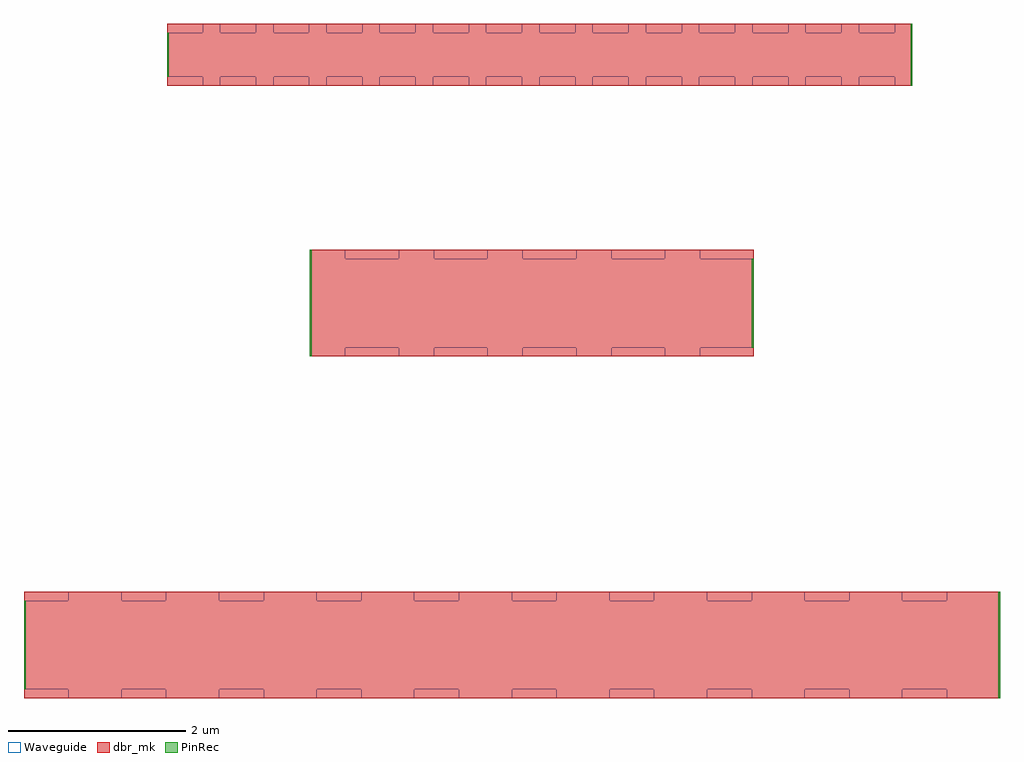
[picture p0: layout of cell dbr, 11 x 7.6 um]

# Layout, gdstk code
import gdstk
lib = gdstk.Library(unit=1e-6, precision=1e-09)
def R(c, l, rs):  # rectangles x0, y0, x1, y1
    for r in rs: c.add(gdstk.rectangle(r[:2], r[2:], *l))
Waveguide = (1, 0)
dbr_mk = (1, 5)
PinRec = (1, 10)

dbr_1 = lib.new_cell('dbr$1')
R(dbr_1, Waveguide, [(0.5,-0.6,1.1,0.6), (0.5,-0.6,1.1,0.6), (0.5,-0.6,1.1,0.6), (1.6,-0.6,2.2,0.6), (1.6,-0.6,2.2,0.6), (1.6,-0.6,2.2,0.6), (2.7,-0.6,3.3,0.6), (2.7,-0.6,3.3,0.6), (2.7,-0.6,3.3,0.6), (3.8,-0.6,4.4,0.6), (3.8,-0.6,4.4,0.6), (3.8,-0.6,4.4,0.6), (4.9,-0.6,5.5,0.6), (4.9,-0.6,5.5,0.6), (4.9,-0.6,5.5,0.6), (6,-0.6,6.6,0.6), (6,-0.6,6.6,0.6), (6,-0.6,6.6,0.6), (7.1,-0.6,7.7,0.6), (7.1,-0.6,7.7,0.6), (7.1,-0.6,7.7,0.6), (8.2,-0.6,8.8,0.6), (8.2,-0.6,8.8,0.6), (8.2,-0.6,8.8,0.6), (9.3,-0.6,9.9,0.6), (9.3,-0.6,9.9,0.6), (9.3,-0.6,9.9,0.6), (10.4,-0.6,11,0.6), (10.4,-0.6,11,0.6), (10.4,-0.6,11,0.6), (0,-0.5,0.5,0.5), (0,-0.5,0.5,0.5), (0,-0.5,0.5,0.5), (1.1,-0.5,1.6,0.5), (1.1,-0.5,1.6,0.5), (1.1,-0.5,1.6,0.5), (2.2,-0.5,2.7,0.5), (2.2,-0.5,2.7,0.5), (2.2,-0.5,2.7,0.5), (3.3,-0.5,3.8,0.5), (3.3,-0.5,3.8,0.5), (3.3,-0.5,3.8,0.5), (4.4,-0.5,4.9,0.5), (4.4,-0.5,4.9,0.5), (4.4,-0.5,4.9,0.5), (5.5,-0.5,6,0.5), (5.5,-0.5,6,0.5), (5.5,-0.5,6,0.5), (6.6,-0.5,7.1,0.5), (6.6,-0.5,7.1,0.5), (6.6,-0.5,7.1,0.5), (7.7,-0.5,8.2,0.5), (7.7,-0.5,8.2,0.5), (7.7,-0.5,8.2,0.5), (8.8,-0.5,9.3,0.5), (8.8,-0.5,9.3,0.5), (8.8,-0.5,9.3,0.5), (9.9,-0.5,10.4,0.5), (9.9,-0.5,10.4,0.5), (9.9,-0.5,10.4,0.5)])
R(dbr_1, dbr_mk, [(0,-0.6,11,0.6)])
R(dbr_1, PinRec, [(10.98,-0.6,11,0.6), (0,-0.5,0.02,0.5)])

dbr_3 = lib.new_cell('dbr$3')
R(dbr_3, Waveguide, [(0,-0.6,0.4,0.6), (0,-0.6,0.4,0.6), (0,-0.6,0.4,0.6), (1,-0.6,1.4,0.6), (1,-0.6,1.4,0.6), (1,-0.6,1.4,0.6), (2,-0.6,2.4,0.6), (2,-0.6,2.4,0.6), (2,-0.6,2.4,0.6), (3,-0.6,3.4,0.6), (3,-0.6,3.4,0.6), (3,-0.6,3.4,0.6), (4,-0.6,4.4,0.6), (4,-0.6,4.4,0.6), (4,-0.6,4.4,0.6), (0.4,-0.5,1,0.5), (0.4,-0.5,1,0.5), (0.4,-0.5,1,0.5), (1.4,-0.5,2,0.5), (1.4,-0.5,2,0.5), (1.4,-0.5,2,0.5), (2.4,-0.5,3,0.5), (2.4,-0.5,3,0.5), (2.4,-0.5,3,0.5), (3.4,-0.5,4,0.5), (3.4,-0.5,4,0.5), (3.4,-0.5,4,0.5), (4.4,-0.5,5,0.5), (4.4,-0.5,5,0.5), (4.4,-0.5,5,0.5)])
R(dbr_3, dbr_mk, [(0,-0.6,5,0.6)])
R(dbr_3, PinRec, [(0,-0.6,0.02,0.6), (4.98,-0.5,5,0.5)])

dbr_5 = lib.new_cell('dbr$5')
R(dbr_5, Waveguide, [(0.4,-0.35,0.6,0.35), (0.4,-0.35,0.6,0.35), (0.4,-0.35,0.6,0.35), (1,-0.35,1.2,0.35), (1,-0.35,1.2,0.35), (1,-0.35,1.2,0.35), (1.6,-0.35,1.8,0.35), (1.6,-0.35,1.8,0.35), (1.6,-0.35,1.8,0.35), (2.2,-0.35,2.4,0.35), (2.2,-0.35,2.4,0.35), (2.2,-0.35,2.4,0.35), (2.8,-0.35,3,0.35), (2.8,-0.35,3,0.35), (2.8,-0.35,3,0.35), (3.4,-0.35,3.6,0.35), (3.4,-0.35,3.6,0.35), (3.4,-0.35,3.6,0.35), (4,-0.35,4.2,0.35), (4,-0.35,4.2,0.35), (4,-0.35,4.2,0.35), (4.6,-0.35,4.8,0.35), (4.6,-0.35,4.8,0.35), (4.6,-0.35,4.8,0.35), (5.2,-0.35,5.4,0.35), (5.2,-0.35,5.4,0.35), (5.2,-0.35,5.4,0.35), (5.8,-0.35,6,0.35), (5.8,-0.35,6,0.35), (5.8,-0.35,6,0.35), (6.4,-0.35,6.6,0.35), (6.4,-0.35,6.6,0.35), (6.4,-0.35,6.6,0.35), (7,-0.35,7.2,0.35), (7,-0.35,7.2,0.35), (7,-0.35,7.2,0.35), (7.6,-0.35,7.8,0.35), (7.6,-0.35,7.8,0.35), (7.6,-0.35,7.8,0.35), (8.2,-0.35,8.4,0.35), (8.2,-0.35,8.4,0.35), (8.2,-0.35,8.4,0.35), (0,-0.25,0.4,0.25), (0,-0.25,0.4,0.25), (0,-0.25,0.4,0.25), (0.6,-0.25,1,0.25), (0.6,-0.25,1,0.25), (0.6,-0.25,1,0.25), (1.2,-0.25,1.6,0.25), (1.2,-0.25,1.6,0.25), (1.2,-0.25,1.6,0.25), (1.8,-0.25,2.2,0.25), (1.8,-0.25,2.2,0.25), (1.8,-0.25,2.2,0.25), (2.4,-0.25,2.8,0.25), (2.4,-0.25,2.8,0.25), (2.4,-0.25,2.8,0.25), (3,-0.25,3.4,0.25), (3,-0.25,3.4,0.25), (3,-0.25,3.4,0.25), (3.6,-0.25,4,0.25), (3.6,-0.25,4,0.25), (3.6,-0.25,4,0.25), (4.2,-0.25,4.6,0.25), (4.2,-0.25,4.6,0.25), (4.2,-0.25,4.6,0.25), (4.8,-0.25,5.2,0.25), (4.8,-0.25,5.2,0.25), (4.8,-0.25,5.2,0.25), (5.4,-0.25,5.8,0.25), (5.4,-0.25,5.8,0.25), (5.4,-0.25,5.8,0.25), (6,-0.25,6.4,0.25), (6,-0.25,6.4,0.25), (6,-0.25,6.4,0.25), (6.6,-0.25,7,0.25), (6.6,-0.25,7,0.25), (6.6,-0.25,7,0.25), (7.2,-0.25,7.6,0.25), (7.2,-0.25,7.6,0.25), (7.2,-0.25,7.6,0.25), (7.8,-0.25,8.2,0.25), (7.8,-0.25,8.2,0.25), (7.8,-0.25,8.2,0.25)])
R(dbr_5, dbr_mk, [(0,-0.35,8.4,0.35)])
R(dbr_5, PinRec, [(8.38,-0.35,8.4,0.35), (0,-0.25,0.02,0.25)])

dbr = lib.new_cell('dbr')
dbr.add(gdstk.Reference(dbr_1, (-2.51,1.026)))
dbr.add(gdstk.Reference(dbr_3, (0.713,4.88)))
dbr.add(gdstk.Reference(dbr_5, (-0.898,7.68)))

lib.write_gds('dbr.gds')
